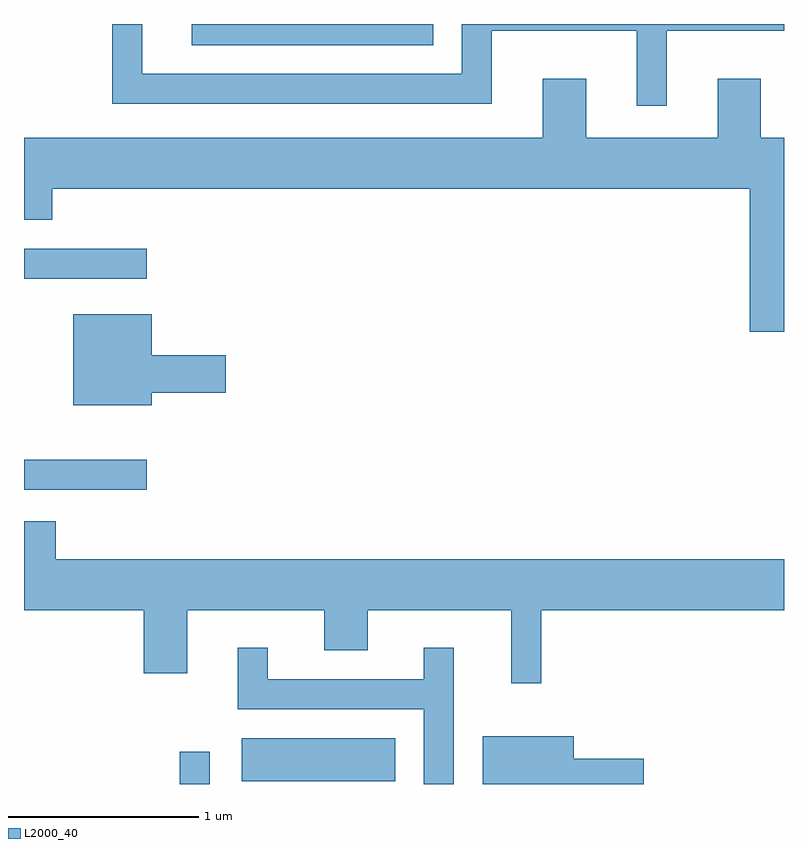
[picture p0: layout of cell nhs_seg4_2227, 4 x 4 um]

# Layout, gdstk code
import gdstk
lib = gdstk.Library(unit=1e-6, precision=1e-09)
def R(c, l, rs):  # rectangles x0, y0, x1, y1
    for r in rs: c.add(gdstk.rectangle(r[:2], r[2:], *l))
def P(c, l, *ps):  # polygons
    for p in ps: c.add(gdstk.Polygon(p, *l))
L2000_40 = (2000, 40)

nhs_seg4_2227 = lib.new_cell('nhs_seg4_2227')
R(nhs_seg4_2227, L2000_40, [(250.431,1355.982,250.589,1356.153), (250.756,1355.996,251.564,1356.224), (249.611,1357.531,250.258,1357.689), (249.611,1358.641,250.258,1358.799), (250.493,1359.871,251.764,1359.982)])
P(nhs_seg4_2227, L2000_40, [(252.994,1359.946),(253.611,1359.946),(253.611,1359.982),(251.916,1359.982),(251.916,1359.719),(250.234,1359.719),(250.234,1359.982),(250.076,1359.982),(250.076,1359.561),(252.074,1359.561),(252.074,1359.946),(252.836,1359.946),(252.836,1359.553),(252.994,1359.553)],
  [(253.431,1358.361),(253.611,1358.361),(253.611,1359.384),(253.489,1359.384),(253.489,1359.694),(253.261,1359.694),(253.261,1359.384),(252.569,1359.384),(252.569,1359.694),(252.341,1359.694),(252.341,1359.384),(249.611,1359.384),(249.611,1358.951),(249.759,1358.951),(249.759,1359.116),(253.431,1359.116)],
  [(250.284,1358.041),(250.674,1358.041),(250.674,1358.239),(250.284,1358.239),(250.284,1358.454),(249.871,1358.454),(249.871,1357.976),(250.284,1357.976)],
  [(249.779,1357.364),(249.611,1357.364),(249.611,1356.896),(250.241,1356.896),(250.241,1356.566),(250.469,1356.566),(250.469,1356.896),(251.191,1356.896),(251.191,1356.686),(251.419,1356.686),(251.419,1356.896),(252.176,1356.896),(252.176,1356.513),(252.334,1356.513),(252.334,1356.896),(253.611,1356.896),(253.611,1357.164),(249.779,1357.164)],
  [(251.874,1356.698),(251.716,1356.698),(251.716,1356.534),(250.894,1356.534),(250.894,1356.698),(250.736,1356.698),(250.736,1356.376),(251.716,1356.376),(251.716,1355.982),(251.874,1355.982)],
  [(252.874,1356.114),(252.504,1356.114),(252.504,1356.234),(252.026,1356.234),(252.026,1355.982),(252.874,1355.982)])

lib.write_gds('nhs_seg4_2227.gds')
